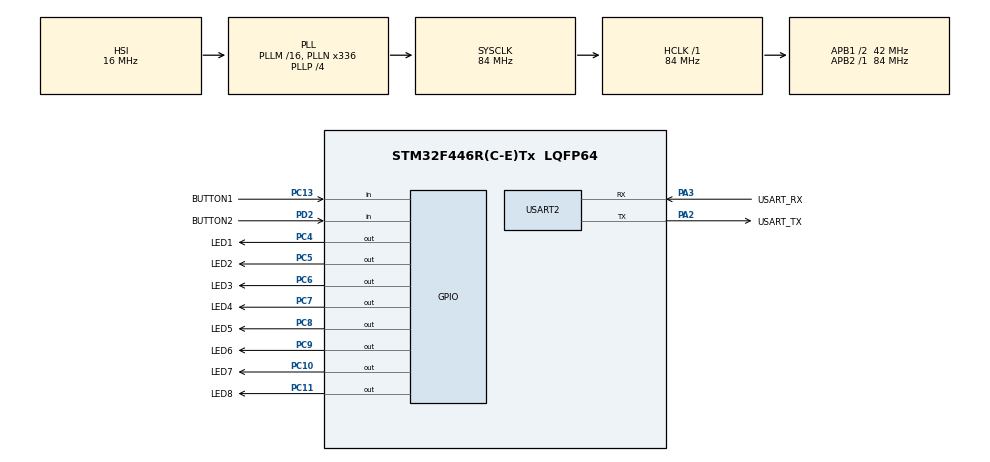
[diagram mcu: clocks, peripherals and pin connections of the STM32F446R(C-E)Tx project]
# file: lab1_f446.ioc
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Mcu.Family=STM32F4
Mcu.Name=STM32F446R(C-E)Tx
Mcu.Package=LQFP64
NVIC.PriorityGroup=NVIC_PRIORITYGROUP_0
PA13.GPIO_Label=TMS
PA13.Mode=Serial_Wire
PA13.Signal=SYS_JTMS-SWDIO
PA14.GPIO_Label=TCK
PA14.Mode=Serial_Wire
PA14.Signal=SYS_JTCK-SWCLK
PA2.GPIO_Label=USART_TX
PA2.Mode=Asynchronous
PA2.Signal=USART2_TX
PA3.GPIO_Label=USART_RX
PA3.Mode=Asynchronous
PA3.Signal=USART2_RX
PB3.GPIO_Label=SWO
PB3.Signal=SYS_JTDO-SWO
PC10.GPIO_Label=LED7
PC10.Signal=GPIO_Output
PC11.GPIO_Label=LED8
PC11.Signal=GPIO_Output
PC13.GPIO_Label=BUTTON1
PC13.GPIO_PuPd=GPIO_PULLUP
PC13.Signal=GPIO_Input
PC14-OSC32_IN.Mode=LSE-External-Oscillator
PC14-OSC32_IN.Signal=RCC_OSC32_IN
PC15-OSC32_OUT.Mode=LSE-External-Oscillator
PC15-OSC32_OUT.Signal=RCC_OSC32_OUT
PC4.GPIO_Label=LED1
PC4.Signal=GPIO_Output
PC5.GPIO_Label=LED2
PC5.Signal=GPIO_Output
PC6.GPIO_Label=LED3
PC6.Signal=GPIO_Output
PC7.GPIO_Label=LED4
PC7.Signal=GPIO_Output
PC8.GPIO_Label=LED5
PC8.Signal=GPIO_Output
PC9.GPIO_Label=LED6
PC9.Signal=GPIO_Output
PD2.GPIO_Label=BUTTON2
PD2.GPIO_PuPd=GPIO_PULLUP
PD2.Signal=GPIO_Input
PH0-OSC_IN.Mode=HSE-External-Oscillator
PH0-OSC_IN.Signal=RCC_OSC_IN
PH1-OSC_OUT.Mode=HSE-External-Oscillator
PH1-OSC_OUT.Signal=RCC_OSC_OUT
ProjectManager.HeapSize=0x200
ProjectManager.StackSize=0x400
ProjectManager.TargetToolchain=STM32CubeIDE
RCC.48MHZClocksFreq_Value=84000000
RCC.AHBFreq_Value=84000000
RCC.APB1CLKDivider=RCC_HCLK_DIV2
RCC.APB1Freq_Value=42000000
RCC.APB1TimFreq_Value=84000000
RCC.APB2Freq_Value=84000000
RCC.APB2TimFreq_Value=84000000
RCC.CortexFreq_Value=84000000
RCC.FLatency-AdvancedSettings=FLASH_LATENCY_2
RCC.HCLKFreq_Value=84000000
RCC.HSE_VALUE=8000000
RCC.HSI_VALUE=16000000
RCC.PLLN=336
RCC.PLLP=RCC_PLLP_DIV4
RCC.SYSCLKFreq_VALUE=84000000
RCC.SYSCLKSource=RCC_SYSCLKSOURCE_PLLCLK
RCC.USBFreq_Value=168000000
RCC.VCOOutputFreq_Value=336000000
USART2.VirtualMode=VM_ASYNC
board=NUCLEO-F446RE

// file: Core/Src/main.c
/* USER CODE BEGIN Header */
/**
  ******************************************************************************
  * @file           : main.c
  * @brief          : Main program body
  ******************************************************************************
  * @attention
  *
  * Copyright (c) 2024 STMicroelectronics.
  * All rights reserved.
  *
  * This software is licensed under terms that can be found in the LICENSE file
  * in the root directory of this software component.
  * If no LICENSE file comes with this software, it is provided AS-IS.
  *
  ******************************************************************************
  */
/* USER CODE END Header */
#include "main.h"

 UART_HandleTypeDef huart2;

void SystemClock_Config(void);
static void MX_GPIO_Init(void);
static void MX_USART2_UART_Init(void);

/* USER CODE BEGIN 0 */
const num_led = 8;
const uint16_t LEDS_Pin[] = {	LED1_Pin,
								LED2_Pin,
								LED3_Pin,
								LED4_Pin,
								LED5_Pin,
								LED6_Pin,
								LED7_Pin,
								LED8_Pin
};
uint8_t counter = 0;
uint8_t is_button1_pressed = 0;
uint8_t is_button2_pressed = 0;
uint8_t selected_led;
/* USER CODE END 0 */

int main(void)
{

  /* MCU Configuration--------------------------------------------------------*/

  /* Reset of all peripherals, Initializes the Flash interface and the Systick. */
  HAL_Init();

  /* Configure the system clock */
  SystemClock_Config();

  /* Initialize all configured peripherals */
  MX_GPIO_Init();
  MX_USART2_UART_Init();

  /* Infinite loop */
  while (1)
  {

    /* USER CODE BEGIN 3 */
//	  HAL_GPIO_TogglePin(LED_0_GPIO_Port, LED_0_Pin);
//	  HAL_Delay(1000);
  //	  For button 1
	  if (HAL_GPIO_ReadPin(BUTTON1_GPIO_Port, BUTTON1_Pin) == GPIO_PIN_RESET)
	  {
		  HAL_Delay(20);
		  if (HAL_GPIO_ReadPin(BUTTON1_GPIO_Port, BUTTON1_Pin) == GPIO_PIN_RESET && is_button1_pressed == 0)
		  {
			  is_button1_pressed = 1;
			  counter++;
		  }
	  }
	  else
	  {
		  is_button1_pressed = 0;
	  }

  //	  For button 2
	  if (HAL_GPIO_ReadPin(BUTTON2_GPIO_Port, BUTTON2_Pin) == GPIO_PIN_RESET)
	  {
		  HAL_Delay(20);
		  if (HAL_GPIO_ReadPin(BUTTON2_GPIO_Port, BUTTON2_Pin) == GPIO_PIN_RESET && is_button2_pressed == 0)
		  {
			  is_button2_pressed = 1;
			  counter--;
		  }
	  }
	  else
	  {
		  is_button2_pressed = 0;
	  }

  //	  Do something with the LEDS

	  selected_led = counter % (num_led+1); // [0, num_led]

	  for (int i = 0; i <= num_led; i++)
	  {
		  if (selected_led == 0)
			  HAL_GPIO_WritePin(LED1_GPIO_Port, LEDS_Pin[i % num_led], GPIO_PIN_RESET);
		  else if (i == selected_led)
			  HAL_GPIO_WritePin(LED1_GPIO_Port, LEDS_Pin[i-1], GPIO_PIN_SET);
		  else
			  HAL_GPIO_WritePin(LED1_GPIO_Port, LEDS_Pin[i-1], GPIO_PIN_RESET);
	  }
  }
  /* USER CODE END 3 */
}

void SystemClock_Config(void)
{
  RCC_OscInitTypeDef RCC_OscInitStruct = {0};
  RCC_ClkInitTypeDef RCC_ClkInitStruct = {0};

  /** Configure the main internal regulator output voltage
  */
  __HAL_RCC_PWR_CLK_ENABLE();
  __HAL_PWR_VOLTAGESCALING_CONFIG(PWR_REGULATOR_VOLTAGE_SCALE3);

  /** Initializes the RCC Oscillators according to the specified parameters
  * in the RCC_OscInitTypeDef structure.
  */
  RCC_OscInitStruct.OscillatorType = RCC_OSCILLATORTYPE_HSI;
  RCC_OscInitStruct.HSIState = RCC_HSI_ON;
  RCC_OscInitStruct.HSICalibrationValue = RCC_HSICALIBRATION_DEFAULT;
  RCC_OscInitStruct.PLL.PLLState = RCC_PLL_ON;
  RCC_OscInitStruct.PLL.PLLSource = RCC_PLLSOURCE_HSI;
  RCC_OscInitStruct.PLL.PLLM = 16;
  RCC_OscInitStruct.PLL.PLLN = 336;
  RCC_OscInitStruct.PLL.PLLP = RCC_PLLP_DIV4;
  RCC_OscInitStruct.PLL.PLLQ = 2;
  RCC_OscInitStruct.PLL.PLLR = 2;
  if (HAL_RCC_OscConfig(&RCC_OscInitStruct) != HAL_OK)
  {
    Error_Handler();
  }

  /** Initializes the CPU, AHB and APB buses clocks
  */
  RCC_ClkInitStruct.ClockType = RCC_CLOCKTYPE_HCLK|RCC_CLOCKTYPE_SYSCLK
                              |RCC_CLOCKTYPE_PCLK1|RCC_CLOCKTYPE_PCLK2;
  RCC_ClkInitStruct.SYSCLKSource = RCC_SYSCLKSOURCE_PLLCLK;
  RCC_ClkInitStruct.AHBCLKDivider = RCC_SYSCLK_DIV1;
  RCC_ClkInitStruct.APB1CLKDivider = RCC_HCLK_DIV2;
  RCC_ClkInitStruct.APB2CLKDivider = RCC_HCLK_DIV1;

  if (HAL_RCC_ClockConfig(&RCC_ClkInitStruct, FLASH_LATENCY_2) != HAL_OK)
  {
    Error_Handler();
  }
}

static void MX_USART2_UART_Init(void)
{

  huart2.Instance = USART2;
  huart2.Init.BaudRate = 115200;
  huart2.Init.WordLength = UART_WORDLENGTH_8B;
  huart2.Init.StopBits = UART_STOPBITS_1;
  huart2.Init.Parity = UART_PARITY_NONE;
  huart2.Init.Mode = UART_MODE_TX_RX;
  huart2.Init.HwFlowCtl = UART_HWCONTROL_NONE;
  huart2.Init.OverSampling = UART_OVERSAMPLING_16;
  if (HAL_UART_Init(&huart2) != HAL_OK)
  {
    Error_Handler();
  }

}

static void MX_GPIO_Init(void)
{
  GPIO_InitTypeDef GPIO_InitStruct = {0};

  /* GPIO Ports Clock Enable */
  __HAL_RCC_GPIOC_CLK_ENABLE();
  __HAL_RCC_GPIOH_CLK_ENABLE();
  __HAL_RCC_GPIOA_CLK_ENABLE();
  __HAL_RCC_GPIOD_CLK_ENABLE();
  __HAL_RCC_GPIOB_CLK_ENABLE();

  /*Configure GPIO pin Output Level */
  HAL_GPIO_WritePin(GPIOC, LED1_Pin|LED2_Pin|LED3_Pin|LED4_Pin
                          |LED5_Pin|LED6_Pin|LED7_Pin|LED8_Pin, GPIO_PIN_RESET);

  /*Configure GPIO pin : BUTTON1_Pin */
  GPIO_InitStruct.Pin = BUTTON1_Pin;
  GPIO_InitStruct.Mode = GPIO_MODE_INPUT;
  GPIO_InitStruct.Pull = GPIO_PULLUP;
  HAL_GPIO_Init(BUTTON1_GPIO_Port, &GPIO_InitStruct);

  /*Configure GPIO pins : LED1_Pin LED2_Pin LED3_Pin LED4_Pin
                           LED5_Pin LED6_Pin LED7_Pin LED8_Pin */
  GPIO_InitStruct.Pin = LED1_Pin|LED2_Pin|LED3_Pin|LED4_Pin
                          |LED5_Pin|LED6_Pin|LED7_Pin|LED8_Pin;
  GPIO_InitStruct.Mode = GPIO_MODE_OUTPUT_PP;
  GPIO_InitStruct.Pull = GPIO_NOPULL;
  GPIO_InitStruct.Speed = GPIO_SPEED_FREQ_LOW;
  HAL_GPIO_Init(GPIOC, &GPIO_InitStruct);

  /*Configure GPIO pin : BUTTON2_Pin */
  GPIO_InitStruct.Pin = BUTTON2_Pin;
  GPIO_InitStruct.Mode = GPIO_MODE_INPUT;
  GPIO_InitStruct.Pull = GPIO_PULLUP;
  HAL_GPIO_Init(BUTTON2_GPIO_Port, &GPIO_InitStruct);

}

void Error_Handler(void)
{
  __disable_irq();
  while (1)
  {
  }
}
